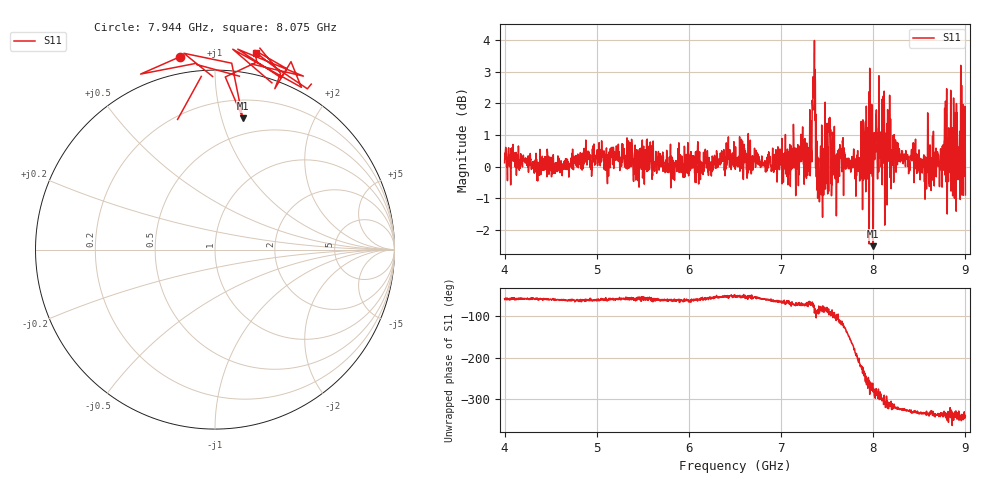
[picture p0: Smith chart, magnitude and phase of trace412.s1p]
! Created with skrf 1.8.0 (http://scikit-rf.org).
# Hz S RI R 50.0
!freq ReS11 ImS11
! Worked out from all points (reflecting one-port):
!   1601 points, 4 GHz to 9 GHz, reference 50 ohm
!   lowest |S11| = -2.5 dB at 8 GHz (marker M1), VSWR 6.96, Z = 17.6 + j58.6 ohm
!   phase of S11 starts at -58 deg and turns -282 deg over the sweep
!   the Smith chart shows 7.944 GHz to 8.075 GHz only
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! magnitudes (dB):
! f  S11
! 4 GHz  0.1
! 4.625 GHz  -0.3
! 5.25 GHz  -0.1
! 5.875 GHz  0.2
! 6.5 GHz  0.2
! 7.125 GHz  0.4
! 7.294 GHz  0.5
! 7.347 GHz  2.8
! 7.369 GHz  3.1
! 7.4 GHz  -0.4
! 7.519 GHz  0.6
! 7.609 GHz  0.4
! 7.65 GHz  0.5
! 7.75 GHz  0.0
! 7.859 GHz  0.1
! 7.928 GHz  1.2
! 8 GHz  -2.5
! 8.097 GHz  -0.6
! 8.178 GHz  2.3
! 8.209 GHz  0.5
! 8.375 GHz  0.2
! 8.625 GHz  -0.3
! 8.738 GHz  0.2
! 8.775 GHz  1.8
! 8.875 GHz  1.3
! 8.956 GHz  -0.3
! 8.972 GHz  0.4
! 9 GHz  -0.9
